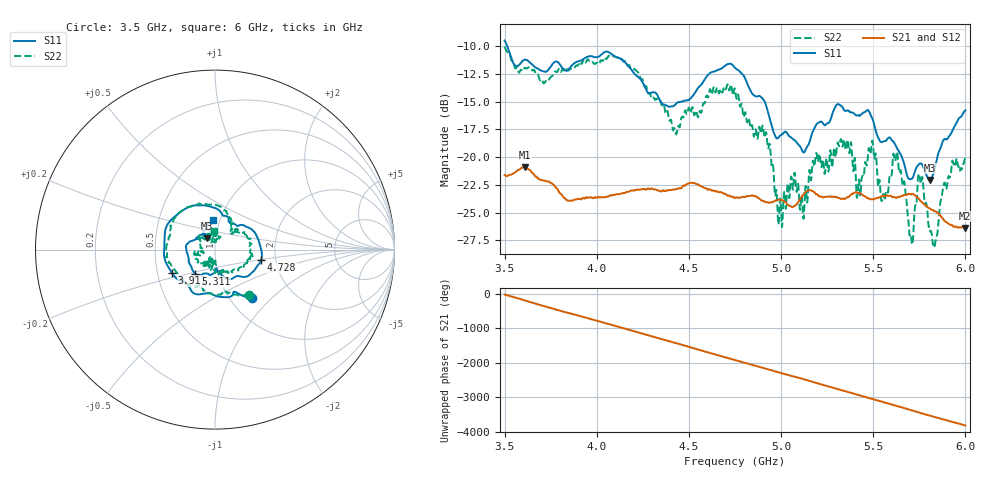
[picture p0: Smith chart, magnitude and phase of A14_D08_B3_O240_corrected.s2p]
! Created with skrf 1.9.0 (http://scikit-rf.org).
# Hz S RI R 50.0
!freq ReS11 ImS11 ReS21 ImS21 ReS12 ImS12 ReS22 ImS22
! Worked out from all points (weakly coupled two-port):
!   1601 points, 3.5 GHz to 6 GHz, reference 50 ohm
!   highest |S21| = -20.91 dB at 3.609 GHz (marker M1); lowest = -26.4 dB at 5.995 GHz (marker M2)
!   lowest |S11| = -22.1 dB at 5.806 GHz (marker M3), VSWR 1.17, Z = 45.1 + j5.72 ohm
!   |S11| at or under -10 dB: 3.515 GHz to end of sweep
!   |S22| runs from -28.0 to -10.0 dB; largest |S21 - S12| = 0.0011
!   S11 on the Smith chart (normalised r, x): 3.5 GHz: 1.26, -0.76; 3.911 GHz: 0.60, -0.17; 4.728 GHz: 1.68, -0.21; 5.311 GHz: 0.78, -0.22; 6 GHz: 0.93, +0.31
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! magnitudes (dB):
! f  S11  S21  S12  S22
! 3.5 GHz  -9.5  -21.6  -21.6  -10.0
! 3.609 GHz  -11.2  -20.9  -20.9  -11.9
! 3.911 GHz  -11.3  -23.8  -23.8  -11.4
! 3.917 GHz  -11.3  -23.8  -23.8  -11.6
! 4.334 GHz  -14.6  -23.0  -23.0  -14.8
! 4.425 GHz  -15.3  -22.9  -22.9  -17.5
! 4.728 GHz  -11.6  -23.6  -23.5  -13.5
! 4.75 GHz  -11.9  -23.7  -23.6  -13.9
! 4.911 GHz  -15.0  -24.0  -24.0  -18.2
! 4.995 GHz  -18.0  -23.9  -23.8  -23.7
! 5.167 GHz  -17.9  -23.1  -23.0  -21.2
! 5.311 GHz  -15.2  -23.7  -23.6  -18.8
! 5.42 GHz  -16.2  -23.3  -23.3  -22.3
! 5.487 GHz  -16.2  -23.8  -23.8  -19.4
! 5.552 GHz  -18.6  -23.5  -23.5  -23.7
! 5.584 GHz  -18.2  -23.5  -23.5  -22.5
! 5.623 GHz  -19.0  -23.7  -23.7  -20.0
! 5.706 GHz  -22.0  -23.4  -23.3  -27.3
! 5.756 GHz  -20.6  -23.9  -23.9  -22.3
! 5.806 GHz  -22.1  -24.6  -24.6  -26.4
! 5.995 GHz  -15.8  -26.4  -26.3  -20.3
! 6 GHz  -15.8  -26.4  -26.4  -19.9
